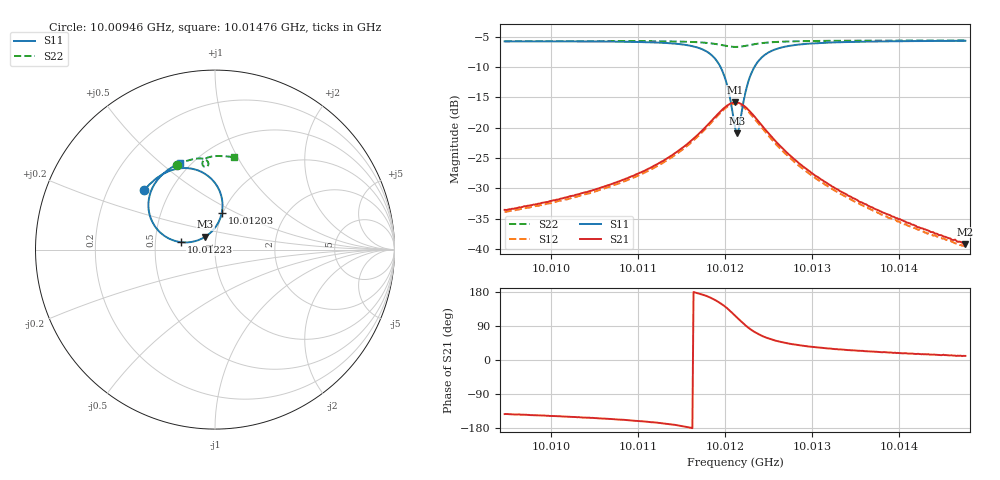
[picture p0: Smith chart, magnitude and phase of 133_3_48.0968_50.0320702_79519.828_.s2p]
#  HZ  S  RI  R  50.00
! Rohde & Schwarz Vector Network Analyzer
! Rohde-Schwarz,ZNB20-2Port,1311601062101988,3.16
! Created: UTC 12/23/2023, 3:48:00 AM
! freq[Hz]  re:S11  im:S11  re:S21  im:S21  re:S12  im:S12  re:S22  im:S22
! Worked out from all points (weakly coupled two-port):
!   401 points, 10.00946 GHz to 10.01476 GHz, reference 50 ohm
!   highest |S21| = -15.83 dB at 10.01211 GHz (marker M1); lowest = -39.2 dB at 10.01476 GHz (marker M2)
!   lowest |S11| = -20.9 dB at 10.01214 GHz (marker M3), VSWR 1.20, Z = 44.4 + j6.43 ohm
!   |S11| at or under -10 dB: 10.01194 GHz to 10.01233 GHz (389 kHz wide, 0.00388 % of centre)
!   |S22| runs from -6.7 to -5.6 dB; largest |S21 - S12| = 0.0078
!   S11 on the Smith chart (normalised r, x): 10.00946 GHz: 0.36, +0.32; 10.01203 GHz: 0.99, +0.42; 10.01223 GHz: 0.68, +0.06; 10.01476 GHz: 0.44, +0.58
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1.0009461e10  -0.3931 0.3323  -0.0167 -0.0127  -0.0154 -0.0131  -0.2141 0.4716
1.0010348e10  -0.338 0.3879  -0.0253 -0.0138  -0.0237 -0.0144  -0.1587 0.4938
1.0010825e10  -0.2946 0.4185  -0.0345 -0.0141  -0.0326 -0.015  -0.1268 0.5028
1.0011235e10  -0.2368 0.4441  -0.0495 -0.0122  -0.0471 -0.0143  -0.0966 0.5076
1.0011553e10  -0.1569 0.4541  -0.0725 -0.00423  -0.0698 -0.00782  -0.0695 0.5071
1.0011805e10  -0.0428 0.4132  -0.1044 0.0245  -0.1023 0.0186  -0.0455 0.4968
1.0011937e10  0.0279 0.3212  -0.1175 0.0668  -0.1176 0.0594  -0.0369 0.482
1.001199e10  0.0415 0.2593  -0.1154 0.0905  -0.1165 0.0834  -0.037 0.474
1.001203e10  0.0379 0.2053  -0.1076 0.1101  -0.1097 0.1028  -0.0394 0.4684
1.0012109e10  -0.0203 0.0985  -0.0736 0.1439  -0.0773 0.137  -0.0498 0.4609
1.0012136e10  -0.0539 0.0718  -0.0582 0.1501  -0.0626 0.1438  -0.0542 0.4607
1.0012162e10  -0.0921 0.0529  -0.0427 0.1533  -0.0467 0.1474  -0.0587 0.4615
1.0012229e10  -0.1903 0.0416  -0.00445 0.1482  -0.00868 0.1431  -0.0671 0.4681
1.0012268e10  -0.2412 0.0549  0.0139 0.1386  0.00861 0.134  -0.0698 0.4739
1.0012321e10  -0.2938 0.0856  0.031 0.1227  0.0255 0.1187  -0.0705 0.4818
1.0012387e10  -0.3361 0.1317  0.0426 0.1025  0.0374 0.0994  -0.0682 0.4905
1.0012454e10  -0.3588 0.1763  0.0482 0.0844  0.0427 0.0825  -0.0638 0.4975
1.0012692e10  -0.3671 0.2888  0.0451 0.0449  0.041 0.0449  -0.0434 0.5119
1.0012997e10  -0.3392 0.3612  0.0346 0.0238  0.0318 0.0242  -0.0182 0.5187
1.0013434e10  -0.2975 0.4139  0.0243 0.0118  0.0225 0.0125  0.0143 0.5217
1.0013884e10  -0.2593 0.4458  0.0179 0.00637  0.0166 0.00694  0.0457 0.5212
1.0014758e10  -0.1932 0.4838  0.0108 0.00206  0.0102 0.00257  0.1034 0.5139
